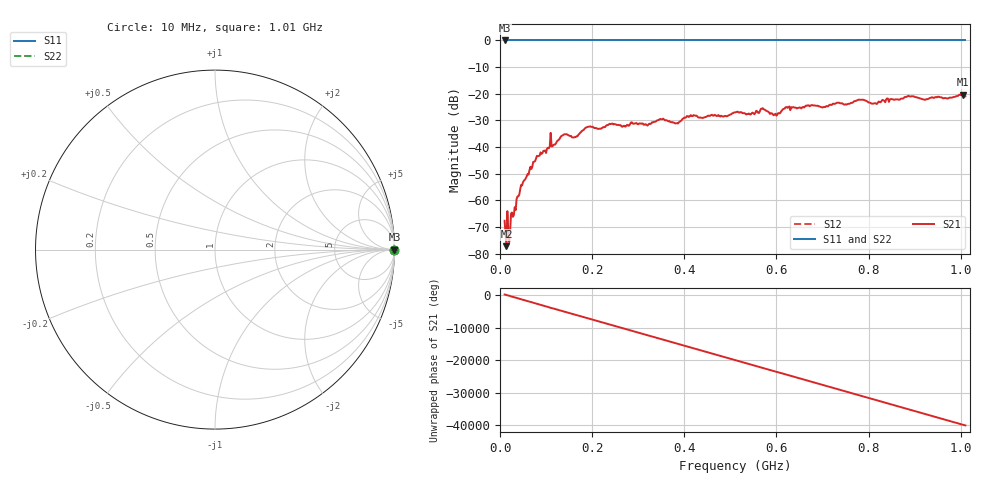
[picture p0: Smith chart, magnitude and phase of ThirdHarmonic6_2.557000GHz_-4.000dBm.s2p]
! 8/17/2025 5:15:48 AM
! C:\ANRITSUVNA\TEMP\TEMP.S2P
! CHANNEL.1
! TR.MEASUREMENT
! RAW.DATA
! RF.CORRECTION.OFF
! AVERAGING.OFF
! IF.BANDWIDTH: 5KHZ
! SWEEPTYPE:  FREQ.SWEEP(Linear)
! Reference Plane Port Info
! PORT:  PORT1  PORT2
! DISTANCE:  0  m  0  m
! TIME:  0  s  0  s
! PHASE.OFFSET:  0  deg.  0  deg.
! LOSS:  0  dB  0  dB
! REF.LOSS:  0  dB  0  dB
! REF.FREQ:  0  Hz  0  Hz
! Power Info
! POWER:  -20  dBm  -20  dBm
! EFF.POWER:  -20  dBm  -20  dBm
! SOURCE.ATTEN:  0  dB  0  dB
! TEST.ATTEN:  0  dB  0  dB
# GHZ S RI R 50.0
! FREQ.GHZ  S11RE  S11IM  S21RE  S21IM  S12RE  S12IM  S22RE  S22IM
!; PortSelection: Port_12
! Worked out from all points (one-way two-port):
!   501 points, 10 MHz to 1.01 GHz, reference 50 ohm
!   highest |S21| = -20.30 dB at 1.004 GHz (marker M1); lowest = -77.2 dB at 14 MHz (marker M2)
!   lowest |S11| = 0.0 dB at 10 MHz (marker M3)
!   |S11| at or under -10 dB: nowhere
!   |S22| runs from 0.0 to 0.0 dB; largest |S21 - S12| = 1.1
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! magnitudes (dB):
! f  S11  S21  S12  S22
! 10 MHz  0.0  -67.6  0.0  0.0
! 14 MHz  0.0  -77.2  0.0  0.0
! 18 MHz  0.0  -71.4  0.0  0.0
! 48 MHz  0.0  -54.4  0.0  0.0
! 76 MHz  0.0  -45.3  0.0  0.0
! 136 MHz  0.0  -35.6  0.0  0.0
! 162 MHz  0.0  -36.3  0.0  0.0
! 178 MHz  0.0  -33.9  0.0  0.0
! 192 MHz  0.0  -32.4  0.0  0.0
! 318 MHz  0.0  -31.7  0.0  0.0
! 344 MHz  0.0  -29.9  0.0  0.0
! 384 MHz  0.0  -31.0  0.0  0.0
! 410 MHz  0.0  -28.7  0.0  0.0
! 510 MHz  0.0  -27.0  0.0  0.0
! 540 MHz  0.0  -27.4  0.0  0.0
! 570 MHz  0.0  -25.4  0.0  0.0
! 598 MHz  0.0  -27.5  0.0  0.0
! 624 MHz  0.0  -25.3  0.0  0.0
! 678 MHz  0.0  -24.3  0.0  0.0
! 844 MHz  0.0  -23.1  0.0  0.0
! 1.004 GHz  0.0  -20.3  0.0  0.0
! 1.01 GHz  0.0  -21.0  0.0  0.0
